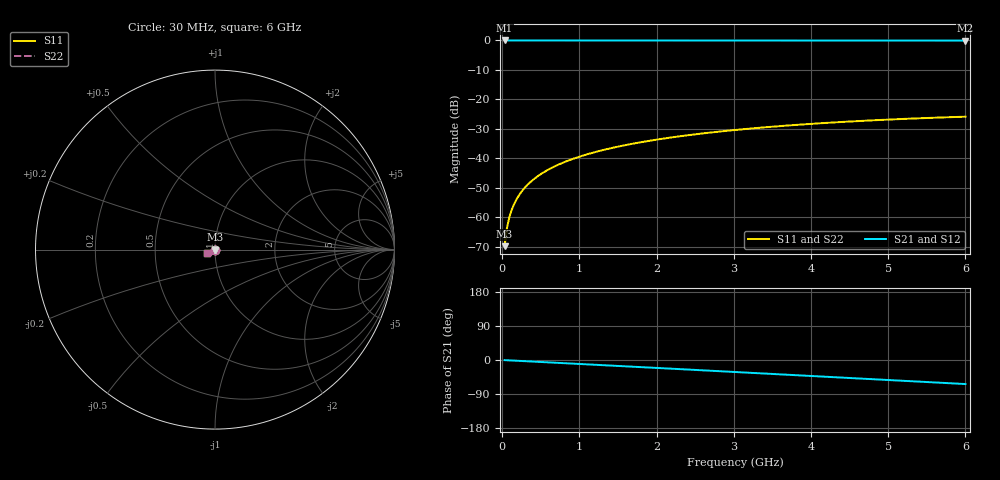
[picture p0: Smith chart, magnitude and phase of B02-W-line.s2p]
! yapnr Order 0 O0-W: O0-W B02 W dL5 (line, family W)
! stackup OSHPARK-4L-EM528, nominal parameters; geometry of the OSHPARK-4L-FR408HR design
! model: 2D quasi-static RLGC (Djordjevic-Sarkar, Huray roughness, Wheeler loss); generated by python -m yapnr.rf.coupons expected --stackup OSHPARK-4L-FR408HR --upload W
! reference planes 10 mm from each end; 50 ohm (from the W line's Zc)
# GHz S DB R 50
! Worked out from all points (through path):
!   200 points, 30 MHz to 6 GHz, reference 50 ohm
!   highest |S21| = 0.00 dB at 30 MHz (marker M1); lowest = 0.0 dB at 6 GHz (marker M2)
!   group delay of S21, straight-line fit = 29.4 ps
!   lowest |S11| = -69.8 dB at 30 MHz (marker M3), VSWR 1.00, Z = 50 - j0.0325 ohm
!   |S11| at or under -10 dB: start of sweep to end of sweep
!   |S22| runs from -69.8 to -25.8 dB; largest |S21 - S12| = 0
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0.03  -69.75 -86.5  -0.00 -0.3  -0.00 -0.3  -69.75 -86.5
0.06  -63.64 -88.6  -0.00 -0.6  -0.00 -0.6  -63.64 -88.6
0.09  -60.10 -89.7  -0.00 -0.9  -0.00 -0.9  -60.10 -89.7
0.12  -57.60 -90.5  -0.00 -1.3  -0.00 -1.3  -57.60 -90.5
0.15  -55.66 -91.1  -0.00 -1.6  -0.00 -1.6  -55.66 -91.1
0.18  -54.09 -91.6  -0.00 -1.9  -0.00 -1.9  -54.09 -91.6
0.21  -52.76 -92.1  -0.00 -2.2  -0.00 -2.2  -52.76 -92.1
0.24  -51.60 -92.5  -0.00 -2.5  -0.00 -2.5  -51.60 -92.5
0.3  -49.68 -93.4  -0.00 -3.1  -0.00 -3.1  -49.68 -93.4
0.42  -46.80 -94.9  -0.00 -4.4  -0.00 -4.4  -46.80 -94.9
0.51  -45.13 -96.0  -0.00 -5.3  -0.00 -5.3  -45.13 -96.0
0.6  -43.75 -97.0  -0.00 -6.3  -0.00 -6.3  -43.75 -97.0
0.81  -41.19 -99.4  -0.01 -8.5  -0.01 -8.5  -41.19 -99.4
1.05  -38.99 -102.0  -0.01 -11.0  -0.01 -11.0  -38.99 -102.0
1.26  -37.46 -104.3  -0.01 -13.2  -0.01 -13.2  -37.46 -104.3
1.5  -36.00 -106.8  -0.01 -15.7  -0.01 -15.7  -36.00 -106.8
2.04  -33.46 -112.6  -0.01 -21.3  -0.01 -21.3  -33.46 -112.6
2.49  -31.86 -117.4  -0.02 -26.1  -0.02 -26.1  -31.86 -117.4
3.03  -30.32 -123.2  -0.02 -31.8  -0.02 -31.8  -30.32 -123.2
4.02  -28.25 -133.7  -0.03 -42.3  -0.03 -42.3  -28.25 -133.7
5.01  -26.82 -144.3  -0.03 -52.8  -0.03 -52.8  -26.82 -144.3
6  -25.85 -155.0  -0.04 -63.5  -0.04 -63.5  -25.85 -155.0
